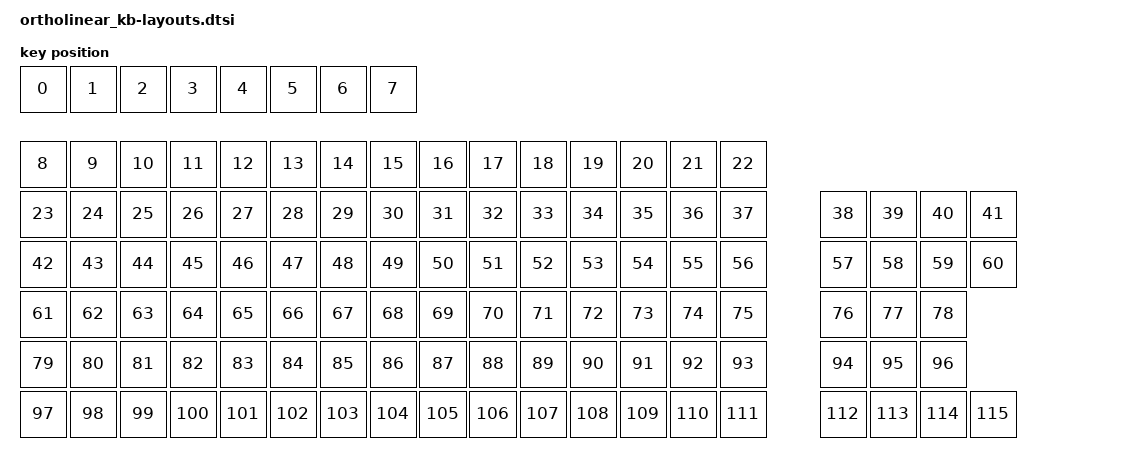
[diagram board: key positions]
// See https://zmk.dev/docs/development/hardware-integration/physical-layouts
// for how to configure this.

#include <physical_layouts.dtsi>

/ {
    default_layout: default_layout {
        compatible = "zmk,physical-layout";
        display-name = "Default Layout";
        transform = <&default_transform>;
        kscan = <&kscan>;

        // Edit this to define the positions and sizes of the keys, or remove it
        // if your keyboard will not support ZMK Studio.
        // https://zmk.dev/docs/development/hardware-integration/physical-layouts#optional-keys-property
        keys  //                     w   h    x    y     rot    rx    ry
            = <&key_physical_attrs 100 100    0    0       0     0     0>
            , <&key_physical_attrs 100 100  100    0       0     0     0>
            , <&key_physical_attrs 100 100  200    0       0     0     0>
            , <&key_physical_attrs 100 100  300    0       0     0     0>
            , <&key_physical_attrs 100 100  400    0       0     0     0>
            , <&key_physical_attrs 100 100  500    0       0     0     0>
            , <&key_physical_attrs 100 100  600    0       0     0     0>
            , <&key_physical_attrs 100 100  700    0       0     0     0>

            , <&key_physical_attrs 100 100    0  150       0     0     0>
            , <&key_physical_attrs 100 100  100  150       0     0     0>
            , <&key_physical_attrs 100 100  200  150       0     0     0>
            , <&key_physical_attrs 100 100  300  150       0     0     0>
            , <&key_physical_attrs 100 100  400  150       0     0     0>
            , <&key_physical_attrs 100 100  500  150       0     0     0>
            , <&key_physical_attrs 100 100  600  150       0     0     0>
            , <&key_physical_attrs 100 100  700  150       0     0     0>
            , <&key_physical_attrs 100 100  800  150       0     0     0>
            , <&key_physical_attrs 100 100  900  150       0     0     0>
            , <&key_physical_attrs 100 100 1000  150       0     0     0>
            , <&key_physical_attrs 100 100 1100  150       0     0     0>
            , <&key_physical_attrs 100 100 1200  150       0     0     0>
            , <&key_physical_attrs 100 100 1300  150       0     0     0>
            , <&key_physical_attrs 100 100 1400  150       0     0     0>

            , <&key_physical_attrs 100 100    0  250       0     0     0>
            , <&key_physical_attrs 100 100  100  250       0     0     0>
            , <&key_physical_attrs 100 100  200  250       0     0     0>
            , <&key_physical_attrs 100 100  300  250       0     0     0>
            , <&key_physical_attrs 100 100  400  250       0     0     0>
            , <&key_physical_attrs 100 100  500  250       0     0     0>
            , <&key_physical_attrs 100 100  600  250       0     0     0>
            , <&key_physical_attrs 100 100  700  250       0     0     0>
            , <&key_physical_attrs 100 100  800  250       0     0     0>
            , <&key_physical_attrs 100 100  900  250       0     0     0>
            , <&key_physical_attrs 100 100 1000  250       0     0     0>
            , <&key_physical_attrs 100 100 1100  250       0     0     0>
            , <&key_physical_attrs 100 100 1200  250       0     0     0>
            , <&key_physical_attrs 100 100 1300  250       0     0     0>
            , <&key_physical_attrs 100 100 1400  250       0     0     0>
            , <&key_physical_attrs 100 100 1600  250       0     0     0>
            , <&key_physical_attrs 100 100 1700  250       0     0     0>
            , <&key_physical_attrs 100 100 1800  250       0     0     0>
            , <&key_physical_attrs 100 100 1900  250       0     0     0>

            , <&key_physical_attrs 100 100    0  350       0     0     0>
            , <&key_physical_attrs 100 100  100  350       0     0     0>
            , <&key_physical_attrs 100 100  200  350       0     0     0>
            , <&key_physical_attrs 100 100  300  350       0     0     0>
            , <&key_physical_attrs 100 100  400  350       0     0     0>
            , <&key_physical_attrs 100 100  500  350       0     0     0>
            , <&key_physical_attrs 100 100  600  350       0     0     0>
            , <&key_physical_attrs 100 100  700  350       0     0     0>
            , <&key_physical_attrs 100 100  800  350       0     0     0>
            , <&key_physical_attrs 100 100  900  350       0     0     0>
            , <&key_physical_attrs 100 100 1000  350       0     0     0>
            , <&key_physical_attrs 100 100 1100  350       0     0     0>
            , <&key_physical_attrs 100 100 1200  350       0     0     0>
            , <&key_physical_attrs 100 100 1300  350       0     0     0>
            , <&key_physical_attrs 100 100 1400  350       0     0     0>
            , <&key_physical_attrs 100 100 1600  350       0     0     0>
            , <&key_physical_attrs 100 100 1700  350       0     0     0>
            , <&key_physical_attrs 100 100 1800  350       0     0     0>
            , <&key_physical_attrs 100 100 1900  350       0     0     0>

            , <&key_physical_attrs 100 100    0  450       0     0     0>
            , <&key_physical_attrs 100 100  100  450       0     0     0>
            , <&key_physical_attrs 100 100  200  450       0     0     0>
            , <&key_physical_attrs 100 100  300  450       0     0     0>
            , <&key_physical_attrs 100 100  400  450       0     0     0>
            , <&key_physical_attrs 100 100  500  450       0     0     0>
            , <&key_physical_attrs 100 100  600  450       0     0     0>
            , <&key_physical_attrs 100 100  700  450       0     0     0>
            , <&key_physical_attrs 100 100  800  450       0     0     0>
            , <&key_physical_attrs 100 100  900  450       0     0     0>
            , <&key_physical_attrs 100 100 1000  450       0     0     0>
            , <&key_physical_attrs 100 100 1100  450       0     0     0>
            , <&key_physical_attrs 100 100 1200  450       0     0     0>
            , <&key_physical_attrs 100 100 1300  450       0     0     0>
            , <&key_physical_attrs 100 100 1400  450       0     0     0>
            , <&key_physical_attrs 100 100 1600  450       0     0     0>
            , <&key_physical_attrs 100 100 1700  450       0     0     0>
            , <&key_physical_attrs 100 100 1800  450       0     0     0>

            , <&key_physical_attrs 100 100    0  550       0     0     0>
            , <&key_physical_attrs 100 100  100  550       0     0     0>
            , <&key_physical_attrs 100 100  200  550       0     0     0>
            , <&key_physical_attrs 100 100  300  550       0     0     0>
            , <&key_physical_attrs 100 100  400  550       0     0     0>
            , <&key_physical_attrs 100 100  500  550       0     0     0>
            , <&key_physical_attrs 100 100  600  550       0     0     0>
            , <&key_physical_attrs 100 100  700  550       0     0     0>
            , <&key_physical_attrs 100 100  800  550       0     0     0>
            , <&key_physical_attrs 100 100  900  550       0     0     0>
            , <&key_physical_attrs 100 100 1000  550       0     0     0>
            , <&key_physical_attrs 100 100 1100  550       0     0     0>
            , <&key_physical_attrs 100 100 1200  550       0     0     0>
            , <&key_physical_attrs 100 100 1300  550       0     0     0>
            , <&key_physical_attrs 100 100 1400  550       0     0     0>
            , <&key_physical_attrs 100 100 1600  550       0     0     0>
            , <&key_physical_attrs 100 100 1700  550       0     0     0>
            , <&key_physical_attrs 100 100 1800  550       0     0     0>
            
            , <&key_physical_attrs 100 100    0  650       0     0     0>
            , <&key_physical_attrs 100 100  100  650       0     0     0>
            , <&key_physical_attrs 100 100  200  650       0     0     0>
            , <&key_physical_attrs 100 100  300  650       0     0     0>
            , <&key_physical_attrs 100 100  400  650       0     0     0>
            , <&key_physical_attrs 100 100  500  650       0     0     0>
            , <&key_physical_attrs 100 100  600  650       0     0     0>
            , <&key_physical_attrs 100 100  700  650       0     0     0>
            , <&key_physical_attrs 100 100  800  650       0     0     0>
            , <&key_physical_attrs 100 100  900  650       0     0     0>
            , <&key_physical_attrs 100 100 1000  650       0     0     0>
            , <&key_physical_attrs 100 100 1100  650       0     0     0>
            , <&key_physical_attrs 100 100 1200  650       0     0     0>
            , <&key_physical_attrs 100 100 1300  650       0     0     0>
            , <&key_physical_attrs 100 100 1400  650       0     0     0>
            , <&key_physical_attrs 100 100 1600  650       0     0     0>
            , <&key_physical_attrs 100 100 1700  650       0     0     0>
            , <&key_physical_attrs 100 100 1800  650       0     0     0>
            , <&key_physical_attrs 100 100 1900  650       0     0     0>
            ;
    };
};
